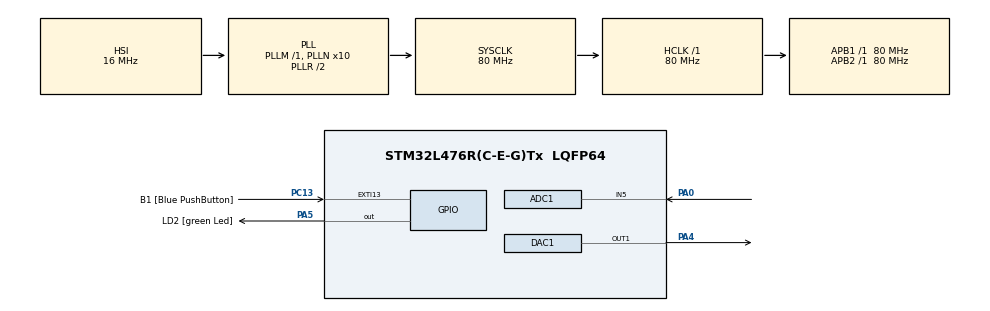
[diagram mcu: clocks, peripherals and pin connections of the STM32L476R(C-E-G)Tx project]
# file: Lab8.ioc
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ADC1.Channel-1\#ChannelRegularConversion=ADC_CHANNEL_5
ADC1.ContinuousConvMode=DISABLE
ADC1.DMAContinuousRequests=ENABLE
ADC1.ExternalTrigConv=ADC_EXTERNALTRIG_T6_TRGO
ADC1.NbrOfConversionFlag=1
ADC1.OffsetNumber-1\#ChannelRegularConversion=ADC_OFFSET_NONE
ADC1.Rank-1\#ChannelRegularConversion=1
ADC1.SamplingTime-1\#ChannelRegularConversion=ADC_SAMPLETIME_2CYCLES_5
ADC1.master=1
DAC1.DAC_Trigger-DAC_OUT1=DAC_TRIGGER_T6_TRGO
Dma.ADC1.1.Direction=DMA_PERIPH_TO_MEMORY
Dma.ADC1.1.Instance=DMA1_Channel1
Dma.ADC1.1.MemDataAlignment=DMA_MDATAALIGN_HALFWORD
Dma.ADC1.1.MemInc=DMA_MINC_ENABLE
Dma.ADC1.1.Mode=DMA_CIRCULAR
Dma.ADC1.1.PeriphDataAlignment=DMA_PDATAALIGN_HALFWORD
Dma.ADC1.1.PeriphInc=DMA_PINC_DISABLE
Dma.ADC1.1.Priority=DMA_PRIORITY_LOW
Dma.DAC_CH1.0.Direction=DMA_MEMORY_TO_PERIPH
Dma.DAC_CH1.0.Instance=DMA1_Channel3
Dma.DAC_CH1.0.MemDataAlignment=DMA_MDATAALIGN_HALFWORD
Dma.DAC_CH1.0.MemInc=DMA_MINC_ENABLE
Dma.DAC_CH1.0.Mode=DMA_CIRCULAR
Dma.DAC_CH1.0.PeriphDataAlignment=DMA_PDATAALIGN_HALFWORD
Dma.DAC_CH1.0.PeriphInc=DMA_PINC_DISABLE
Dma.DAC_CH1.0.Priority=DMA_PRIORITY_HIGH
Dma.Request0=DAC_CH1
Dma.Request1=ADC1
Mcu.Family=STM32L4
Mcu.Name=STM32L476R(C-E-G)Tx
Mcu.Package=LQFP64
NVIC.DMA1_Channel1_IRQn=true\:0\:0\:false\:false\:true\:false\:true\:true
NVIC.DMA1_Channel3_IRQn=true\:0\:0\:false\:false\:true\:false\:true\:true
NVIC.EXTI15_10_IRQn=true\:0\:0\:false\:false\:true\:true\:true\:true
NVIC.PriorityGroup=NVIC_PRIORITYGROUP_4
PA0.Signal=ADCx_IN5
PA13\ (JTMS-SWDIO).GPIO_Label=TMS
PA13\ (JTMS-SWDIO).Mode=Serial_Wire
PA13\ (JTMS-SWDIO).Signal=SYS_JTMS-SWDIO
PA14\ (JTCK-SWCLK).GPIO_Label=TCK
PA14\ (JTCK-SWCLK).Mode=Serial_Wire
PA14\ (JTCK-SWCLK).Signal=SYS_JTCK-SWCLK
PA2.GPIO_Label=USART_TX
PA2.GPIO_Mode=GPIO_MODE_AF_PP
PA2.GPIO_PuPd=GPIO_NOPULL
PA2.GPIO_Speed=GPIO_SPEED_FREQ_VERY_HIGH
PA2.Signal=USART2_TX
PA4.Signal=COMP_DAC11_group
PA5.GPIO_Label=LD2 [green Led]
PA5.GPIO_ModeDefaultOutputPP=GPIO_MODE_OUTPUT_PP
PA5.GPIO_PuPd=GPIO_NOPULL
PA5.GPIO_Speed=GPIO_SPEED_FREQ_LOW
PA5.Signal=GPIO_Output
PB3\ (JTDO-TRACESWO).GPIO_Label=SWO
PB3\ (JTDO-TRACESWO).Signal=SYS_JTDO-SWO
PC13.GPIO_Label=B1 [Blue PushButton]
PC13.Signal=GPXTI13
PC14-OSC32_IN\ (PC14).Mode=LSE-External-Oscillator
PC14-OSC32_IN\ (PC14).Signal=RCC_OSC32_IN
PC15-OSC32_OUT\ (PC15).Mode=LSE-External-Oscillator
PC15-OSC32_OUT\ (PC15).Signal=RCC_OSC32_OUT
PH0-OSC_IN\ (PH0).Signal=RCC_OSC_IN
PH1-OSC_OUT\ (PH1).Signal=RCC_OSC_OUT
ProjectManager.HeapSize=0x200
ProjectManager.StackSize=0x400
ProjectManager.TargetToolchain=STM32CubeIDE
RCC.ADCFreq_Value=64000000
RCC.AHBFreq_Value=80000000
RCC.APB1Freq_Value=80000000
RCC.APB1TimFreq_Value=80000000
RCC.APB2Freq_Value=80000000
RCC.APB2TimFreq_Value=80000000
RCC.CortexFreq_Value=80000000
RCC.HCLKFreq_Value=80000000
RCC.HSE_VALUE=8000000
RCC.HSI_VALUE=16000000
RCC.MSI_VALUE=4000000
RCC.PLLN=10
RCC.PLLSourceVirtual=RCC_PLLSOURCE_HSI
RCC.PREFETCH_ENABLE=1
RCC.SYSCLKFreq_VALUE=80000000
RCC.SYSCLKSource=RCC_SYSCLKSOURCE_PLLCLK
RCC.USBFreq_Value=64000000
RCC.VCOOutputFreq_Value=160000000
SH.ADCx_IN5.0=ADC1_IN5,IN5-Single-Ended
SH.COMP_DAC11_group.0=DAC1_OUT1,DAC_OUT1
TIM6.Period=49
TIM6.Prescaler=79
TIM6.TIM_MasterOutputTrigger=TIM_TRGO_UPDATE
VP_TIM6_VS_ClockSourceINT.Mode=Enable_Timer
board=NUCLEO-L476RG

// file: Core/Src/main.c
/* USER CODE BEGIN Header */
/**
  ******************************************************************************
  * @file           : main.c
  * @brief          : Main program body
  ******************************************************************************
  * @attention
  *
  * Copyright (c) 2026 STMicroelectronics.
  * All rights reserved.
  *
  * This software is licensed under terms that can be found in the LICENSE file
  * in the root directory of this software component.
  * If no LICENSE file comes with this software, it is provided AS-IS.
  *
  ******************************************************************************
  */
/* USER CODE END Header */
#include "main.h"
#include "math.h"
#include "arm_math.h"

/* USER CODE BEGIN PD */
#define FFT_LENGTH 2048
#define SAMPLING_RATE 16384
#define N_TAPS 32
#define N_BLOCK 32

/* USER CODE END PD */

ADC_HandleTypeDef hadc1;
DMA_HandleTypeDef hdma_adc1;

DAC_HandleTypeDef hdac1;
DMA_HandleTypeDef hdma_dac_ch1;

TIM_HandleTypeDef htim6;

/* USER CODE BEGIN PV */
float32_t input_signal[FFT_LENGTH];
float32_t output_fft_input[FFT_LENGTH];
float32_t output_fft_filt[FFT_LENGTH];
float32_t output_fft_mag_input[FFT_LENGTH / 2];
float32_t output_fft_mag_filt[FFT_LENGTH / 2];
float32_t output_freq[FFT_LENGTH / 2];
arm_rfft_fast_instance_f32 fft_handler;
arm_fir_instance_f32 filter1;

float32_t filtered_signal[FFT_LENGTH];
float32_t State[N_TAPS+N_BLOCK-1];

static float32_t Coeffs[N_TAPS] = {
  -0.004344147732779473,
  -0.009168771306895347,
  -0.009724726663831893,
  -0.014577553983187346,
  -0.014952323254611453,
  -0.014925558361240522,
  -0.010265617264184849,
  -0.0024817460791642034,
  0.010003390455751927,
  0.025902379839063516,
  0.04482221705027414,
  0.06486658161749063,
  0.08440325053709288,
  0.10127458250446596,
  0.11374001867323824,
  0.12034176639902075,
  0.12034176639902075,
  0.11374001867323824,
  0.10127458250446596,
  0.08440325053709288,
  0.06486658161749063,
  0.04482221705027414,
  0.025902379839063516,
  0.010003390455751927,
  -0.0024817460791642034,
  -0.010265617264184849,
  -0.014925558361240522,
  -0.014952323254611453,
  -0.014577553983187346,
  -0.009724726663831893,
  -0.009168771306895347,
  -0.004344147732779473
};

/* USER CODE END PV */

void SystemClock_Config(void);
static void MX_GPIO_Init(void);
static void MX_DMA_Init(void);
static void MX_ADC1_Init(void);
static void MX_TIM6_Init(void);
static void MX_DAC1_Init(void);

int main(void)
{

  /* MCU Configuration--------------------------------------------------------*/

  /* Reset of all peripherals, Initializes the Flash interface and the Systick. */
  HAL_Init();

  /* Configure the system clock */
  SystemClock_Config();

  /* Initialize all configured peripherals */
  MX_GPIO_Init();
  MX_DMA_Init();
  MX_ADC1_Init();
  MX_TIM6_Init();
  MX_DAC1_Init();

  /* USER CODE BEGIN 2 */
  arm_rfft_fast_init_f32(&fft_handler, FFT_LENGTH);
  arm_fir_init_f32(&filter1, N_TAPS, &Coeffs[0], &State[0], N_BLOCK);

  // Generate input signal: 400 Hz tone (in band) + 3000 Hz tone (should be filtered out)
  for (int i = 0; i < FFT_LENGTH; i++)
  {
      input_signal[i] = arm_cos_f32(2 * PI * 400  * i / SAMPLING_RATE)
                      + arm_cos_f32(2 * PI * 3000 * i / SAMPLING_RATE);
  }

  // Frequency axis
  for (int i = 0; i < FFT_LENGTH / 2; i++)
  {
      output_freq[i] = (float32_t)(i) / FFT_LENGTH * SAMPLING_RATE;
  }

  // ---- STEP 1: FIR filter ----
  for (int i = 0; i < (FFT_LENGTH / N_BLOCK); i++)
  {
      arm_fir_f32(&filter1,
                  &input_signal[i * N_BLOCK],
                  &filtered_signal[i * N_BLOCK],
                  N_BLOCK);
  }

  // ---- STEP 2a: FFT on INPUT signal ----
  arm_rfft_fast_f32(&fft_handler, input_signal, output_fft_input, 0);
  arm_cmplx_mag_f32(output_fft_input, output_fft_mag_input, FFT_LENGTH / 2);

  // ---- STEP 2b: FFT on FILTERED signal ----
  arm_rfft_fast_f32(&fft_handler, filtered_signal, output_fft_filt, 0);
  arm_cmplx_mag_f32(output_fft_filt, output_fft_mag_filt, FFT_LENGTH / 2);

  /* USER CODE END 2 */

  /* Infinite loop */

  while (1)
  {

  }
}

void SystemClock_Config(void)
{
  RCC_OscInitTypeDef RCC_OscInitStruct = {0};
  RCC_ClkInitTypeDef RCC_ClkInitStruct = {0};

  /** Configure the main internal regulator output voltage
  */
  if (HAL_PWREx_ControlVoltageScaling(PWR_REGULATOR_VOLTAGE_SCALE1) != HAL_OK)
  {
    Error_Handler();
  }

  /** Initializes the RCC Oscillators according to the specified parameters
  * in the RCC_OscInitTypeDef structure.
  */
  RCC_OscInitStruct.OscillatorType = RCC_OSCILLATORTYPE_HSI;
  RCC_OscInitStruct.HSIState = RCC_HSI_ON;
  RCC_OscInitStruct.HSICalibrationValue = RCC_HSICALIBRATION_DEFAULT;
  RCC_OscInitStruct.PLL.PLLState = RCC_PLL_ON;
  RCC_OscInitStruct.PLL.PLLSource = RCC_PLLSOURCE_HSI;
  RCC_OscInitStruct.PLL.PLLM = 1;
  RCC_OscInitStruct.PLL.PLLN = 10;
  RCC_OscInitStruct.PLL.PLLP = RCC_PLLP_DIV7;
  RCC_OscInitStruct.PLL.PLLQ = RCC_PLLQ_DIV2;
  RCC_OscInitStruct.PLL.PLLR = RCC_PLLR_DIV2;
  if (HAL_RCC_OscConfig(&RCC_OscInitStruct) != HAL_OK)
  {
    Error_Handler();
  }

  /** Initializes the CPU, AHB and APB buses clocks
  */
  RCC_ClkInitStruct.ClockType = RCC_CLOCKTYPE_HCLK|RCC_CLOCKTYPE_SYSCLK
                              |RCC_CLOCKTYPE_PCLK1|RCC_CLOCKTYPE_PCLK2;
  RCC_ClkInitStruct.SYSCLKSource = RCC_SYSCLKSOURCE_PLLCLK;
  RCC_ClkInitStruct.AHBCLKDivider = RCC_SYSCLK_DIV1;
  RCC_ClkInitStruct.APB1CLKDivider = RCC_HCLK_DIV1;
  RCC_ClkInitStruct.APB2CLKDivider = RCC_HCLK_DIV1;

  if (HAL_RCC_ClockConfig(&RCC_ClkInitStruct, FLASH_LATENCY_4) != HAL_OK)
  {
    Error_Handler();
  }
}

static void MX_ADC1_Init(void)
{

  ADC_MultiModeTypeDef multimode = {0};
  ADC_ChannelConfTypeDef sConfig = {0};

  /** Common config
  */
  hadc1.Instance = ADC1;
  hadc1.Init.ClockPrescaler = ADC_CLOCK_ASYNC_DIV1;
  hadc1.Init.Resolution = ADC_RESOLUTION_12B;
  hadc1.Init.DataAlign = ADC_DATAALIGN_RIGHT;
  hadc1.Init.ScanConvMode = ADC_SCAN_DISABLE;
  hadc1.Init.EOCSelection = ADC_EOC_SINGLE_CONV;
  hadc1.Init.LowPowerAutoWait = DISABLE;
  hadc1.Init.ContinuousConvMode = DISABLE;
  hadc1.Init.NbrOfConversion = 1;
  hadc1.Init.DiscontinuousConvMode = DISABLE;
  hadc1.Init.ExternalTrigConv = ADC_EXTERNALTRIG_T6_TRGO;
  hadc1.Init.ExternalTrigConvEdge = ADC_EXTERNALTRIGCONVEDGE_RISING;
  hadc1.Init.DMAContinuousRequests = ENABLE;
  hadc1.Init.Overrun = ADC_OVR_DATA_PRESERVED;
  hadc1.Init.OversamplingMode = DISABLE;
  if (HAL_ADC_Init(&hadc1) != HAL_OK)
  {
    Error_Handler();
  }

  /** Configure the ADC multi-mode
  */
  multimode.Mode = ADC_MODE_INDEPENDENT;
  if (HAL_ADCEx_MultiModeConfigChannel(&hadc1, &multimode) != HAL_OK)
  {
    Error_Handler();
  }

  /** Configure Regular Channel
  */
  sConfig.Channel = ADC_CHANNEL_5;
  sConfig.Rank = ADC_REGULAR_RANK_1;
  sConfig.SamplingTime = ADC_SAMPLETIME_2CYCLES_5;
  sConfig.SingleDiff = ADC_SINGLE_ENDED;
  sConfig.OffsetNumber = ADC_OFFSET_NONE;
  sConfig.Offset = 0;
  if (HAL_ADC_ConfigChannel(&hadc1, &sConfig) != HAL_OK)
  {
    Error_Handler();
  }

}

static void MX_DAC1_Init(void)
{

  DAC_ChannelConfTypeDef sConfig = {0};

  /** DAC Initialization
  */
  hdac1.Instance = DAC1;
  if (HAL_DAC_Init(&hdac1) != HAL_OK)
  {
    Error_Handler();
  }

  /** DAC channel OUT1 config
  */
  sConfig.DAC_SampleAndHold = DAC_SAMPLEANDHOLD_DISABLE;
  sConfig.DAC_Trigger = DAC_TRIGGER_T6_TRGO;
  sConfig.DAC_OutputBuffer = DAC_OUTPUTBUFFER_ENABLE;
  sConfig.DAC_ConnectOnChipPeripheral = DAC_CHIPCONNECT_DISABLE;
  sConfig.DAC_UserTrimming = DAC_TRIMMING_FACTORY;
  if (HAL_DAC_ConfigChannel(&hdac1, &sConfig, DAC_CHANNEL_1) != HAL_OK)
  {
    Error_Handler();
  }

}

static void MX_TIM6_Init(void)
{

  TIM_MasterConfigTypeDef sMasterConfig = {0};

  htim6.Instance = TIM6;
  htim6.Init.Prescaler = 79;
  htim6.Init.CounterMode = TIM_COUNTERMODE_UP;
  htim6.Init.Period = 60;
  htim6.Init.AutoReloadPreload = TIM_AUTORELOAD_PRELOAD_DISABLE;
  if (HAL_TIM_Base_Init(&htim6) != HAL_OK)
  {
    Error_Handler();
  }
  sMasterConfig.MasterOutputTrigger = TIM_TRGO_UPDATE;
  sMasterConfig.MasterSlaveMode = TIM_MASTERSLAVEMODE_DISABLE;
  if (HAL_TIMEx_MasterConfigSynchronization(&htim6, &sMasterConfig) != HAL_OK)
  {
    Error_Handler();
  }

}

static void MX_DMA_Init(void)
{

  /* DMA controller clock enable */
  __HAL_RCC_DMA1_CLK_ENABLE();

  /* DMA interrupt init */
  /* DMA1_Channel1_IRQn interrupt configuration */
  HAL_NVIC_SetPriority(DMA1_Channel1_IRQn, 0, 0);
  HAL_NVIC_EnableIRQ(DMA1_Channel1_IRQn);
  /* DMA1_Channel3_IRQn interrupt configuration */
  HAL_NVIC_SetPriority(DMA1_Channel3_IRQn, 0, 0);
  HAL_NVIC_EnableIRQ(DMA1_Channel3_IRQn);

}

static void MX_GPIO_Init(void)
{
  GPIO_InitTypeDef GPIO_InitStruct = {0};

  /* GPIO Ports Clock Enable */
  __HAL_RCC_GPIOC_CLK_ENABLE();
  __HAL_RCC_GPIOH_CLK_ENABLE();
  __HAL_RCC_GPIOA_CLK_ENABLE();
  __HAL_RCC_GPIOB_CLK_ENABLE();

  /*Configure GPIO pin Output Level */
  HAL_GPIO_WritePin(LD2_GPIO_Port, LD2_Pin, GPIO_PIN_RESET);

  /*Configure GPIO pin : B1_Pin */
  GPIO_InitStruct.Pin = B1_Pin;
  GPIO_InitStruct.Mode = GPIO_MODE_IT_RISING;
  GPIO_InitStruct.Pull = GPIO_NOPULL;
  HAL_GPIO_Init(B1_GPIO_Port, &GPIO_InitStruct);

  /*Configure GPIO pin : USART_TX_Pin */
  GPIO_InitStruct.Pin = USART_TX_Pin;
  GPIO_InitStruct.Mode = GPIO_MODE_AF_PP;
  GPIO_InitStruct.Pull = GPIO_NOPULL;
  GPIO_InitStruct.Speed = GPIO_SPEED_FREQ_VERY_HIGH;
  GPIO_InitStruct.Alternate = GPIO_AF7_USART2;
  HAL_GPIO_Init(USART_TX_GPIO_Port, &GPIO_InitStruct);

  /*Configure GPIO pin : LD2_Pin */
  GPIO_InitStruct.Pin = LD2_Pin;
  GPIO_InitStruct.Mode = GPIO_MODE_OUTPUT_PP;
  GPIO_InitStruct.Pull = GPIO_NOPULL;
  GPIO_InitStruct.Speed = GPIO_SPEED_FREQ_LOW;
  HAL_GPIO_Init(LD2_GPIO_Port, &GPIO_InitStruct);

  /* EXTI interrupt init*/
  HAL_NVIC_SetPriority(EXTI15_10_IRQn, 0, 0);
  HAL_NVIC_EnableIRQ(EXTI15_10_IRQn);

}

void Error_Handler(void)
{
  __disable_irq();
  while (1)
  {
  }
}
